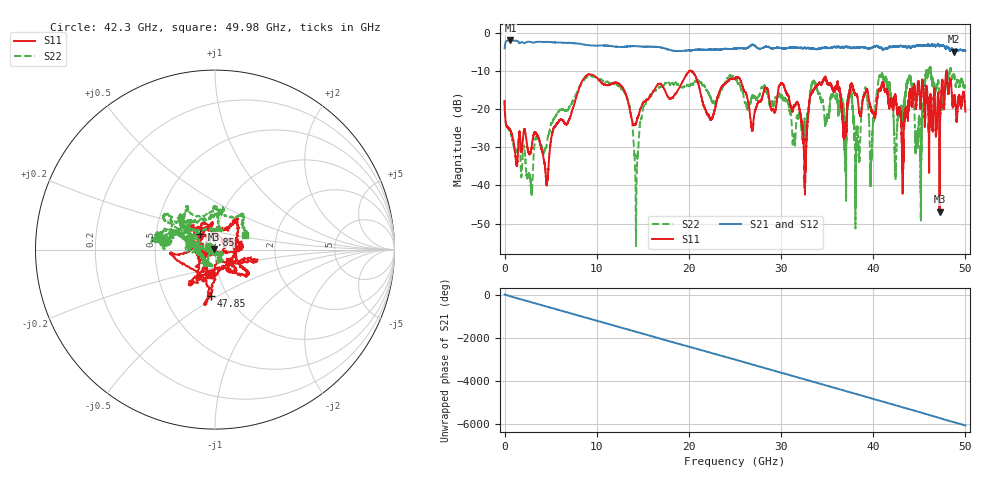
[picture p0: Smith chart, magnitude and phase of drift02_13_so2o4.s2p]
!Created with skrf (http://scikit-rf.org).
# Hz S RI R 50.0
!freq ReS11 ImS11 ReS21 ImS21 ReS12 ImS12 ReS22 ImS22
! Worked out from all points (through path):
!   10001 points, 300 kHz to 50 GHz, reference 50 ohm
!   highest |S21| = -1.99 dB at 630.3 MHz (marker M1); lowest = -4.9 dB at 48.77 GHz (marker M2)
!   group delay of S21, straight-line fit = 337 ps
!   lowest |S11| = -46.9 dB at 47.2 GHz (marker M3), VSWR 1.01, Z = 49.6 + j0.161 ohm
!   |S11| at or under -10 dB: start of sweep to 20.06 GHz; 20.20951 GHz to 20.21269 GHz (3.182 MHz wide, 0.0157 % of centre); 20.24 GHz to end of sweep (the widest 3 of 4)
!   |S22| runs from -55.9 to -8.9 dB; largest |S21 - S12| = 0.03
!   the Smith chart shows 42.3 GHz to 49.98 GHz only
!   S11 on the Smith chart (normalised r, x): 42.3 GHz: 0.92, -0.26; 43.85 GHz: 0.83, +0.14; 47.85 GHz: 0.83, -0.46; 49.98 GHz: 1.16, -0.15
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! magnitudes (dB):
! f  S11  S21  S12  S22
! 300 kHz  -17.9  -4.0  -4.0  -17.6
! 630.3 MHz  -25.6  -2.0  -2.0  -26.4
! 4.565 GHz  -40.1  -2.4  -2.4  -29.3
! 8.335 GHz  -13.0  -2.9  -2.9  -13.2
! 13.02 GHz  -15.3  -3.7  -3.6  -15.7
! 14.28 GHz  -23.7  -3.5  -3.5  -47.3
! 16.67 GHz  -13.4  -3.7  -3.7  -14.5
! 25 GHz  -12.0  -4.1  -4.1  -12.1
! 30.18 GHz  -13.4  -4.1  -4.1  -17.0
! 32.56 GHz  -40.7  -3.9  -4.0  -23.7
! 33.34 GHz  -15.8  -4.0  -4.1  -13.6
! 38.28 GHz  -16.9  -4.0  -3.9  -25.3
! 41.67 GHz  -18.5  -3.8  -3.9  -13.0
! 42.3 GHz  -17.1  -3.6  -3.6  -28.7
! 43.85 GHz  -18.4  -3.6  -3.6  -12.1
! 44.99 GHz  -14.5  -3.4  -3.3  -21.7
! 45.91 GHz  -18.0  -3.2  -3.1  -11.7
! 47.2 GHz  -46.9  -3.4  -3.4  -16.5
! 47.85 GHz  -11.7  -4.0  -4.1  -13.5
! 48.77 GHz  -17.0  -4.9  -4.9  -10.8
! 49.98 GHz  -19.9  -4.6  -4.6  -14.5
! 50 GHz  -20.6  -4.6  -4.6  -14.9
